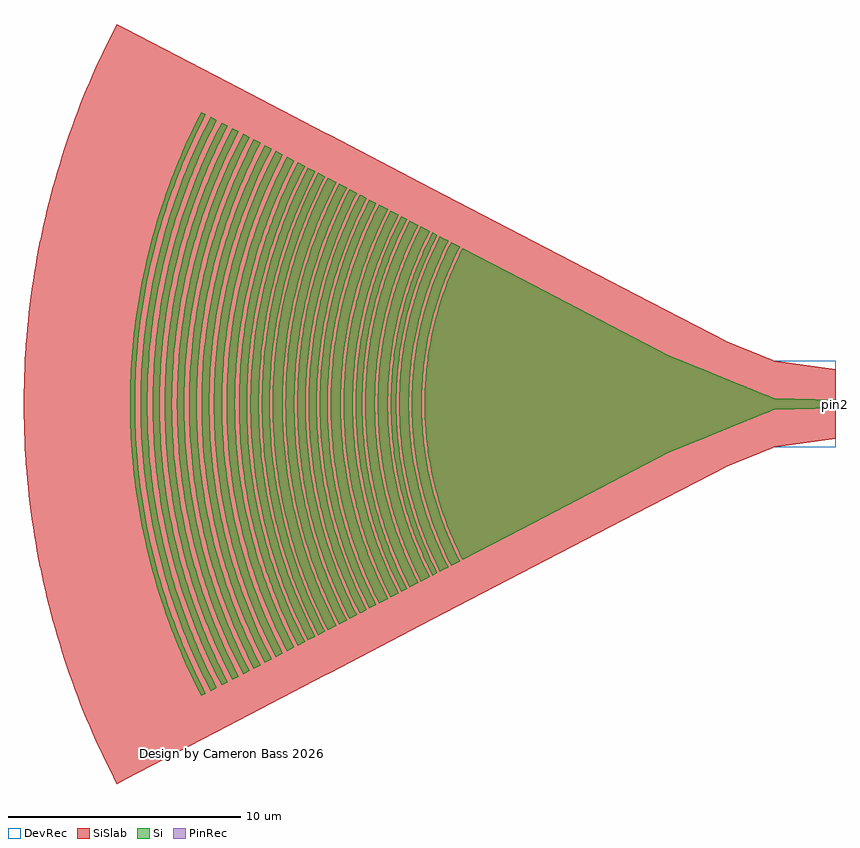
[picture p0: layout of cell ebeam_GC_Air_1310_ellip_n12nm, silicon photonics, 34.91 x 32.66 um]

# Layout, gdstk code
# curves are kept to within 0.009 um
import gdstk
lib = gdstk.Library(unit=1e-6, precision=1e-09)
def P(c, l, *ps):  # polygons
    for p in ps: c.add(gdstk.Polygon(p, *l))
Si = (1, 0)
PinRec = (1, 10)
SiSlab = (2, 0)
DevRec = (68, 0)

ebeam_gc_air_1310_ellip_ = lib.new_cell('ebeam_GC_Air_1310_ellip_n12nm')
P(ebeam_gc_air_1310_ellip_, Si, [(-16.043,-6.699),(-16.399,-5.964),(-16.773,-5.049),(-17.084,-4.111),(-17.266,-3.428),(-17.442,-2.599),(-17.569,-1.761),(-17.647,-0.917),(-17.675,-0.071),(-17.647,0.917),(-17.569,1.761),(-17.442,2.6),(-17.266,3.428),(-17.084,4.111),(-16.773,5.049),(-16.399,5.964),(-16.043,6.699),(-7.156,2.072),(-3.19,0.453),(-2.896,0.345),(-2.696,0.251),(-2.651,0.238),(0,0.175),(0,-0.175),(-2.664,-0.24),(-2.865,-0.332),(-3.205,-0.459),(-7.128,-2.059)],
  [(-16.535,-6.954),(-16.902,-6.194),(-17.239,-5.381),(-17.528,-4.549),(-17.767,-3.703),(-17.958,-2.844),(-18.098,-1.974),(-18.197,-0.953),(-18.227,-0.073),(-18.206,0.806),(-18.116,1.83),(-17.985,2.7),(-17.802,3.56),(-17.528,4.549),(-17.239,5.381),(-16.902,6.194),(-16.535,6.955),(-16.154,6.757),(-16.512,6.015),(-16.889,5.092),(-17.161,4.283),(-17.387,3.458),(-17.564,2.622),(-17.692,1.776),(-17.779,0.784),(-17.799,0.071),(-17.779,-0.784),(-17.692,-1.776),(-17.564,-2.621),(-17.387,-3.458),(-17.203,-4.145),(-16.889,-5.092),(-16.512,-6.015),(-16.154,-6.757)],
  [(-17.016,-7.205),(-17.396,-6.418),(-17.745,-5.576),(-18.044,-4.714),(-18.292,-3.837),(-18.517,-2.797),(-18.653,-1.896),(-18.737,-0.987),(-18.768,-0.076),(-18.746,0.835),(-18.671,1.745),(-18.614,2.197),(-18.517,2.797),(-18.328,3.689),(-18.089,4.569),(-17.745,5.576),(-17.396,6.418),(-17.016,7.205),(-16.645,7.013),(-17.075,6.11),(-17.406,5.287),(-17.689,4.445),(-17.924,3.59),(-18.107,2.722),(-18.24,1.844),(-18.321,0.961),(-18.351,0.074),(-18.33,-0.813),(-18.24,-1.844),(-18.107,-2.722),(-17.924,-3.59),(-17.689,-4.446),(-17.406,-5.287),(-17.075,-6.11),(-16.645,-7.013)],
  [(-17.336,-7.372),(-17.725,-6.566),(-18.082,-5.705),(-18.388,-4.823),(-18.642,-3.926),(-18.844,-3.015),(-18.925,-2.555),(-19.012,-1.939),(-19.098,-1.01),(-19.129,-0.078),(-19.107,0.855),(-19.03,1.785),(-18.899,2.709),(-18.814,3.168),(-18.679,3.775),(-18.434,4.675),(-18.137,5.559),(-17.969,5.994),(-17.725,6.567),(-17.336,7.372),(-17.126,7.262),(-17.571,6.329),(-17.966,5.333),(-18.294,4.311),(-18.413,3.868),(-18.551,3.271),(-18.715,2.366),(-18.811,1.606),(-18.87,0.843),(-18.892,0.077),(-18.87,-0.843),(-18.811,-1.606),(-18.715,-2.366),(-18.551,-3.27),(-18.413,-3.867),(-18.294,-4.311),(-18.115,-4.898),(-17.966,-5.332),(-17.571,-6.329),(-17.126,-7.262)],
  [(-17.832,-7.63),(-18.299,-6.649),(-18.66,-5.754),(-18.968,-4.838),(-19.221,-3.907),(-19.421,-2.962),(-19.565,-2.008),(-19.654,-1.045),(-19.687,-0.08),(-19.663,0.885),(-19.584,1.848),(-19.449,2.804),(-19.328,3.436),(-19.221,3.907),(-18.968,4.838),(-18.66,5.754),(-18.486,6.204),(-18.234,6.797),(-17.832,7.63),(-17.447,7.43),(-17.902,6.475),(-18.197,5.749),(-18.506,4.861),(-18.763,3.957),(-18.995,2.884),(-19.135,1.954),(-19.199,1.331),(-19.231,0.862),(-19.253,0.078),(-19.231,-0.862),(-19.199,-1.331),(-19.135,-1.954),(-18.995,-2.884),(-18.8,-3.804),(-18.598,-4.561),(-18.409,-5.159),(-18.252,-5.602),(-17.902,-6.475),(-17.447,-7.43)],
  [(-18.312,-7.88),(-18.728,-7.018),(-18.988,-6.406),(-19.167,-5.942),(-19.486,-4.997),(-19.747,-4.034),(-19.953,-3.059),(-20.103,-2.072),(-20.194,-1.08),(-20.228,-0.083),(-20.204,0.914),(-20.122,1.908),(-19.982,2.895),(-19.786,3.873),(-19.486,4.997),(-19.167,5.942),(-18.988,6.406),(-18.728,7.019),(-18.312,7.88),(-17.943,7.688),(-18.349,6.848),(-18.541,6.402),(-18.777,5.797),(-18.939,5.339),(-19.135,4.719),(-19.344,3.937),(-19.545,2.984),(-19.69,2.022),(-19.78,1.054),(-19.813,0.081),(-19.789,-0.892),(-19.709,-1.861),(-19.573,-2.825),(-19.484,-3.303),(-19.344,-3.936),(-19.135,-4.719),(-18.99,-5.185),(-18.777,-5.797),(-18.541,-6.401),(-18.349,-6.848),(-17.943,-7.688)],
  [(-18.674,-8.068),(-19.1,-7.185),(-19.491,-6.242),(-19.826,-5.277),(-20.017,-4.625),(-20.144,-4.13),(-20.355,-3.132),(-20.508,-2.122),(-20.602,-1.105),(-20.636,-0.085),(-20.612,0.935),(-20.528,1.954),(-20.385,2.964),(-20.257,3.632),(-20.144,4.13),(-19.876,5.116),(-19.665,5.762),(-19.491,6.242),(-19.1,7.185),(-18.674,8.068),(-18.423,7.939),(-18.702,7.374),(-18.976,6.763),(-19.341,5.828),(-19.504,5.353),(-19.699,4.712),(-19.829,4.227),(-19.98,3.575),(-20.159,2.586),(-20.264,1.755),(-20.329,0.921),(-20.353,0.084),(-20.329,-0.921),(-20.264,-1.755),(-20.159,-2.586),(-20.014,-3.41),(-19.908,-3.901),(-19.744,-4.55),(-19.555,-5.193),(-19.397,-5.67),(-18.976,-6.763),(-18.702,-7.374),(-18.423,-7.938)],
  [(-19.132,-8.307),(-19.571,-7.398),(-19.846,-6.752),(-20.035,-6.263),(-20.37,-5.267),(-20.646,-4.252),(-20.863,-3.224),(-21.021,-2.184),(-21.117,-1.138),(-21.153,-0.088),(-21.143,0.614),(-21.117,1.138),(-21.021,2.184),(-20.863,3.224),(-20.646,4.252),(-20.37,5.267),(-20.035,6.263),(-19.642,7.238),(-19.425,7.716),(-19.132,8.307),(-18.785,8.126),(-19.215,7.237),(-19.418,6.765),(-19.667,6.126),(-19.995,5.151),(-20.267,4.16),(-20.479,3.154),(-20.633,2.137),(-20.727,1.114),(-20.762,0.086),(-20.737,-0.943),(-20.653,-1.967),(-20.509,-2.985),(-20.415,-3.49),(-20.267,-4.16),(-19.995,-5.151),(-19.667,-6.126),(-19.284,-7.08),(-19.072,-7.548),(-18.785,-8.126)],
  [(-19.631,-8.567),(-20.082,-7.631),(-20.497,-6.63),(-20.852,-5.605),(-21.147,-4.562),(-21.381,-3.504),(-21.554,-2.433),(-21.664,-1.354),(-21.702,-0.633),(-21.713,-0.09),(-21.687,0.993),(-21.597,2.075),(-21.446,3.148),(-21.31,3.857),(-21.19,4.387),(-20.906,5.433),(-20.682,6.12),(-20.497,6.63),(-20.082,7.631),(-19.631,8.567),(-19.243,8.365),(-19.538,7.77),(-19.757,7.288),(-20.09,6.471),(-20.27,5.974),(-20.489,5.304),(-20.726,4.453),(-20.954,3.42),(-21.123,2.376),(-21.201,1.674),(-21.242,1.146),(-21.278,0.088),(-21.273,-0.441),(-21.242,-1.146),(-21.145,-2.199),(-20.987,-3.246),(-20.768,-4.282),(-20.489,-5.303),(-20.27,-5.974),(-20.09,-6.471),(-19.757,-7.288),(-19.538,-7.769),(-19.243,-8.365)],
  [(-20.046,-8.783),(-20.51,-7.821),(-20.8,-7.139),(-21,-6.621),(-21.354,-5.567),(-21.646,-4.496),(-21.876,-3.409),(-22.042,-2.31),(-22.144,-1.203),(-22.182,-0.093),(-22.155,1.018),(-22.064,2.126),(-21.994,2.677),(-21.876,3.409),(-21.646,4.496),(-21.354,5.568),(-21,6.621),(-20.585,7.652),(-20.355,8.158),(-20.046,8.783),(-19.745,8.626),(-19.97,8.177),(-20.274,7.517),(-20.552,6.844),(-20.743,6.333),(-20.975,5.644),(-21.132,5.12),(-21.273,4.593),(-21.437,3.885),(-21.603,2.99),(-21.726,2.088),(-21.816,1.001),(-21.842,0.091),(-21.832,-0.636),(-21.763,-1.726),(-21.658,-2.63),(-21.474,-3.705),(-21.358,-4.239),(-21.181,-4.945),(-20.975,-5.643),(-20.743,-6.333),(-20.552,-6.843),(-20.274,-7.516),(-19.97,-8.177),(-19.745,-8.626)],
  [(-20.466,-9.002),(-20.943,-8.014),(-21.379,-6.962),(-21.752,-5.886),(-22.062,-4.791),(-22.193,-4.236),(-22.343,-3.493),(-22.513,-2.366),(-22.618,-1.233),(-22.657,-0.095),(-22.629,1.043),(-22.535,2.179),(-22.376,3.306),(-22.272,3.866),(-22.107,4.607),(-21.808,5.706),(-21.635,6.247),(-21.379,6.962),(-20.943,8.014),(-20.466,9.002),(-20.157,8.841),(-20.469,8.211),(-20.774,7.531),(-21.052,6.839),(-21.243,6.313),(-21.418,5.783),(-21.629,5.067),(-21.812,4.344),(-21.93,3.797),(-22.091,2.879),(-22.208,1.954),(-22.28,1.025),(-22.307,0.093),(-22.289,-0.839),(-22.226,-1.769),(-22.118,-2.695),(-21.93,-3.797),(-21.812,-4.344),(-21.629,-5.067),(-21.418,-5.783),(-21.243,-6.313),(-21.052,-6.838),(-20.774,-7.531),(-20.469,-8.211),(-20.157,-8.841)],
  [(-20.901,-9.228),(-21.391,-8.212),(-21.837,-7.135),(-22.22,-6.032),(-22.538,-4.91),(-22.672,-4.341),(-22.826,-3.579),(-23.001,-2.425),(-23.108,-1.263),(-23.147,-0.097),(-23.142,0.487),(-23.108,1.263),(-23.001,2.425),(-22.826,3.58),(-22.584,4.721),(-22.278,5.847),(-21.906,6.953),(-21.47,8.035),(-21.228,8.566),(-20.901,9.228),(-20.581,9.061),(-20.903,8.412),(-21.215,7.715),(-21.5,7.006),(-21.696,6.468),(-21.876,5.924),(-22.092,5.191),(-22.235,4.636),(-22.4,3.89),(-22.565,2.95),(-22.685,2.002),(-22.759,1.051),(-22.787,0.096),(-22.768,-0.86),(-22.704,-1.812),(-22.593,-2.761),(-22.4,-3.89),(-22.235,-4.636),(-22.092,-5.191),(-21.876,-5.924),(-21.696,-6.468),(-21.5,-7.006),(-21.215,-7.715),(-20.903,-8.412),(-20.581,-9.061)],
  [(-21.352,-9.463),(-21.688,-8.785),(-21.935,-8.239),(-22.382,-7.13),(-22.764,-5.995),(-23.078,-4.841),(-23.326,-3.671),(-23.505,-2.487),(-23.615,-1.295),(-23.644,-0.698),(-23.655,-0.1),(-23.65,0.499),(-23.615,1.296),(-23.505,2.488),(-23.326,3.671),(-23.078,4.841),(-22.764,5.996),(-22.382,7.13),(-22.167,7.688),(-21.935,8.24),(-21.688,8.785),(-21.352,9.463),(-21.011,9.285),(-21.257,8.796),(-21.584,8.085),(-21.811,7.543),(-22.089,6.812),(-22.279,6.257),(-22.508,5.507),(-22.706,4.75),(-22.876,3.986),(-23.045,3.023),(-23.168,2.051),(-23.244,1.076),(-23.272,0.098),(-23.253,-0.88),(-23.187,-1.857),(-23.074,-2.829),(-22.876,-3.985),(-22.706,-4.75),(-22.508,-5.507),(-22.339,-6.07),(-22.089,-6.812),(-21.811,-7.543),(-21.584,-8.085),(-21.257,-8.795),(-21.011,-9.285)],
  [(-21.84,-9.716),(-22.095,-9.207),(-22.437,-8.462),(-22.675,-7.895),(-22.896,-7.322),(-23.101,-6.743),(-23.288,-6.157),(-23.611,-4.972),(-23.747,-4.372),(-23.865,-3.77),(-23.966,-3.163),(-24.049,-2.554),(-24.162,-1.33),(-24.192,-0.717),(-24.203,-0.102),(-24.174,1.126),(-24.073,2.352),(-23.966,3.163),(-23.865,3.77),(-23.747,4.372),(-23.611,4.972),(-23.288,6.158),(-23.101,6.743),(-22.896,7.323),(-22.675,7.896),(-22.437,8.462),(-22.095,9.207),(-21.84,9.717),(-21.463,9.521),(-21.801,8.838),(-22.049,8.29),(-22.499,7.173),(-22.699,6.606),(-22.941,5.84),(-23.2,4.871),(-23.449,3.693),(-23.629,2.502),(-23.693,1.904),(-23.739,1.304),(-23.78,0.1),(-23.761,-0.903),(-23.693,-1.904),(-23.576,-2.901),(-23.412,-3.89),(-23.291,-4.48),(-23.102,-5.26),(-22.941,-5.839),(-22.634,-6.795),(-22.356,-7.548),(-22.129,-8.106),(-21.801,-8.838),(-21.463,-9.521)],
  [(-22.254,-9.932),(-22.78,-8.84),(-23.029,-8.263),(-23.261,-7.68),(-23.475,-7.09),(-23.735,-6.293),(-24.065,-5.082),(-24.324,-3.853),(-24.427,-3.233),(-24.512,-2.611),(-24.579,-1.986),(-24.628,-1.36),(-24.658,-0.733),(-24.67,-0.105),(-24.664,0.524),(-24.64,1.151),(-24.537,2.403),(-24.458,3.026),(-24.361,3.647),(-24.246,4.265),(-24.065,5.082),(-23.735,6.294),(-23.543,6.892),(-23.261,7.68),(-23.029,8.264),(-22.78,8.841),(-22.254,9.932),(-21.95,9.774),(-22.296,9.075),(-22.551,8.513),(-22.79,7.943),(-23.083,7.172),(-23.283,6.588),(-23.523,5.799),(-23.683,5.202),(-23.869,4.398),(-23.988,3.792),(-24.089,3.182),(-24.218,2.16),(-24.298,1.133),(-24.328,0.103),(-24.298,-1.133),(-24.218,-2.16),(-24.089,-3.182),(-23.988,-3.792),(-23.869,-4.398),(-23.683,-5.202),(-23.523,-5.798),(-23.283,-6.587),(-23.083,-7.172),(-22.79,-7.942),(-22.551,-8.512),(-22.296,-9.075),(-21.95,-9.774)],
  [(-22.688,-10.158),(-22.957,-9.622),(-23.228,-9.039),(-23.483,-8.449),(-23.72,-7.853),(-23.939,-7.249),(-24.141,-6.639),(-24.382,-5.818),(-24.542,-5.196),(-24.684,-4.569),(-24.807,-3.94),(-24.913,-3.306),(-25,-2.669),(-25.068,-2.031),(-25.118,-1.39),(-25.149,-0.75),(-25.161,-0.107),(-25.155,0.536),(-25.13,1.177),(-25.087,1.818),(-25.025,2.457),(-24.944,3.094),(-24.845,3.729),(-24.727,4.361),(-24.542,5.196),(-24.382,5.818),(-24.204,6.436),(-23.795,7.653),(-23.564,8.251),(-23.315,8.844),(-22.957,9.622),(-22.688,10.158),(-22.367,9.991),(-22.722,9.275),(-22.983,8.7),(-23.227,8.118),(-23.526,7.33),(-23.795,6.532),(-23.976,5.926),(-24.14,5.316),(-24.33,4.495),(-24.522,3.461),(-24.665,2.417),(-24.756,1.368),(-24.787,0.737),(-24.799,0.105),(-24.779,-0.948),(-24.742,-1.578),(-24.687,-2.207),(-24.555,-3.252),(-24.33,-4.495),(-24.14,-5.316),(-23.976,-5.926),(-23.795,-6.532),(-23.526,-7.33),(-23.305,-7.921),(-22.983,-8.7),(-22.722,-9.275),(-22.367,-9.991)],
  [(-23.12,-10.383),(-23.398,-9.829),(-23.675,-9.234),(-23.935,-8.631),(-24.178,-8.022),(-24.402,-7.405),(-24.609,-6.782),(-24.966,-5.52),(-25.117,-4.882),(-25.25,-4.24),(-25.364,-3.593),(-25.459,-2.944),(-25.535,-2.293),(-25.607,-1.42),(-25.639,-0.766),(-25.651,-0.109),(-25.645,0.547),(-25.62,1.202),(-25.575,1.857),(-25.512,2.51),(-25.429,3.161),(-25.29,4.025),(-25.163,4.669),(-25.018,5.308),(-24.673,6.574),(-24.473,7.199),(-24.255,7.818),(-24.018,8.429),(-23.764,9.034),(-23.493,9.632),(-23.12,10.383),(-22.815,10.225),(-23.18,9.487),(-23.533,8.702),(-23.777,8.103),(-24.003,7.498),(-24.278,6.682),(-24.464,6.062),(-24.683,5.229),(-24.826,4.598),(-25.023,3.54),(-25.116,2.901),(-25.191,2.258),(-25.274,1.185),(-25.306,0.108),(-25.285,-0.97),(-25.191,-2.258),(-25.116,-2.9),(-25.023,-3.54),(-24.826,-4.598),(-24.683,-5.229),(-24.464,-6.062),(-24.278,-6.682),(-24.003,-7.498),(-23.777,-8.103),(-23.447,-8.899),(-23.18,-9.487),(-22.815,-10.224)],
  [(-23.589,-10.628),(-23.877,-10.054),(-24.161,-9.446),(-24.427,-8.829),(-24.675,-8.206),(-24.905,-7.575),(-25.116,-6.938),(-25.247,-6.511),(-25.482,-5.647),(-25.637,-4.993),(-25.772,-4.337),(-25.924,-3.454),(-26.015,-2.789),(-26.086,-2.122),(-26.138,-1.453),(-26.171,-0.783),(-26.184,-0.112),(-26.177,0.56),(-26.151,1.23),(-26.106,1.9),(-26.041,2.568),(-25.956,3.233),(-25.852,3.897),(-25.684,4.776),(-25.535,5.43),(-25.368,6.08),(-25.182,6.725),(-24.977,7.364),(-24.754,7.997),(-24.512,8.622),(-24.252,9.241),(-23.974,9.853),(-23.589,10.628),(-23.273,10.463),(-23.555,9.902),(-23.923,9.102),(-24.179,8.492),(-24.492,7.669),(-24.706,7.044),(-24.964,6.2),(-25.188,5.348),(-25.334,4.703),(-25.536,3.62),(-25.685,2.528),(-25.748,1.871),(-25.793,1.212),(-25.825,0.11),(-25.804,-0.992),(-25.766,-1.651),(-25.708,-2.309),(-25.57,-3.403),(-25.461,-4.054),(-25.334,-4.703),(-25.188,-5.348),(-24.964,-6.2),(-24.706,-7.043),(-24.492,-7.668),(-24.179,-8.492),(-23.923,-9.102),(-23.555,-9.902),(-23.273,-10.463)],
  [(-24.072,-10.879),(-24.37,-10.286),(-24.66,-9.663),(-24.933,-9.032),(-25.187,-8.395),(-25.422,-7.75),(-25.706,-6.879),(-25.896,-6.22),(-26.067,-5.555),(-26.219,-4.885),(-26.352,-4.212),(-26.465,-3.534),(-26.558,-2.853),(-26.631,-2.171),(-26.684,-1.486),(-26.718,-0.801),(-26.731,-0.114),(-26.724,0.573),(-26.698,1.258),(-26.651,1.943),(-26.558,2.854),(-26.465,3.534),(-26.352,4.212),(-26.219,4.886),(-26.067,5.555),(-25.896,6.22),(-25.706,6.88),(-25.422,7.75),(-25.187,8.395),(-24.933,9.033),(-24.66,9.663),(-24.37,10.286),(-24.072,10.879),(-23.762,10.718),(-24.339,9.523),(-24.692,8.694),(-24.936,8.062),(-25.161,7.424),(-25.434,6.563),(-25.615,5.912),(-25.828,5.035),(-25.964,4.372),(-26.082,3.706),(-26.235,2.588),(-26.333,1.465),(-26.366,0.789),(-26.379,0.113),(-26.357,-1.014),(-26.317,-1.69),(-26.259,-2.364),(-26.117,-3.483),(-26.006,-4.15),(-25.875,-4.814),(-25.726,-5.474),(-25.496,-6.346),(-25.232,-7.21),(-25.013,-7.85),(-24.776,-8.483),(-24.43,-9.317),(-24.053,-10.136),(-23.762,-10.718)],
  [(-24.542,-11.124),(-24.849,-10.514),(-25.146,-9.877),(-25.425,-9.232),(-25.684,-8.581),(-25.925,-7.921),(-26.146,-7.255),(-26.409,-6.358),(-26.585,-5.678),(-26.74,-4.993),(-26.876,-4.305),(-26.991,-3.612),(-27.086,-2.918),(-27.161,-2.219),(-27.216,-1.519),(-27.25,-0.819),(-27.263,-0.117),(-27.25,0.819),(-27.216,1.52),(-27.161,2.22),(-27.086,2.918),(-26.991,3.612),(-26.876,4.305),(-26.74,4.994),(-26.585,5.678),(-26.409,6.358),(-26.146,7.255),(-25.925,7.921),(-25.684,8.581),(-25.425,9.233),(-25.146,9.877),(-24.849,10.514),(-24.542,11.124),(-24.242,10.968),(-24.644,10.16),(-24.931,9.53),(-25.284,8.677),(-25.527,8.029),(-25.822,7.155),(-26.021,6.492),(-26.201,5.823),(-26.409,4.925),(-26.621,3.791),(-26.777,2.647),(-26.878,1.499),(-26.911,0.807),(-26.924,0.115),(-26.918,-0.576),(-26.891,-1.269),(-26.801,-2.418),(-26.721,-3.106),(-26.621,-3.791),(-26.409,-4.924),(-26.201,-5.823),(-26.021,-6.491),(-25.822,-7.155),(-25.527,-8.029),(-25.284,-8.677),(-24.931,-9.53),(-24.644,-10.16),(-24.242,-10.968)],
  [(-25.015,-11.37),(-25.33,-10.744),(-25.634,-10.094),(-25.918,-9.435),(-26.184,-8.769),(-26.429,-8.095),(-26.655,-7.414),(-26.861,-6.727),(-27.047,-6.034),(-27.212,-5.336),(-27.358,-4.634),(-27.482,-3.928),(-27.587,-3.218),(-27.67,-2.506),(-27.733,-1.791),(-27.784,-0.836),(-27.798,-0.12),(-27.791,0.598),(-27.763,1.314),(-27.714,2.03),(-27.645,2.744),(-27.554,3.455),(-27.402,4.399),(-27.263,5.103),(-27.104,5.802),(-26.925,6.497),(-26.726,7.186),(-26.507,7.869),(-26.184,8.769),(-25.918,9.435),(-25.634,10.094),(-25.33,10.744),(-25.015,11.37),(-24.722,11.218),(-25.033,10.601),(-25.428,9.744),(-25.702,9.092),(-26.038,8.21),(-26.267,7.541),(-26.478,6.864),(-26.668,6.183),(-26.89,5.266),(-27.118,4.109),(-27.227,3.41),(-27.316,2.707),(-27.385,2.003),(-27.433,1.297),(-27.467,0.118),(-27.46,-0.589),(-27.433,-1.297),(-27.341,-2.472),(-27.193,-3.643),(-27.077,-4.341),(-26.94,-5.035),(-26.727,-5.954),(-26.543,-6.637),(-26.267,-7.541),(-26.038,-8.21),(-25.702,-9.091),(-25.428,-9.744),(-25.135,-10.388),(-24.723,-11.218)],
  [(-25.477,-11.61),(-25.799,-10.97),(-26.109,-10.306),(-26.399,-9.633),(-26.67,-8.953),(-26.921,-8.265),(-27.152,-7.57),(-27.362,-6.869),(-27.552,-6.161),(-27.773,-5.21),(-27.914,-4.492),(-28.035,-3.769),(-28.134,-3.043),(-28.212,-2.316),(-28.269,-1.585),(-28.304,-0.855),(-28.319,-0.122),(-28.304,0.855),(-28.269,1.585),(-28.212,2.316),(-28.134,3.043),(-28.035,3.769),(-27.914,4.492),(-27.773,5.21),(-27.61,5.924),(-27.427,6.634),(-27.225,7.336),(-27.001,8.034),(-26.756,8.725),(-26.492,9.407),(-26.208,10.083),(-25.799,10.97),(-25.477,11.61),(-25.197,11.465),(-25.619,10.615),(-25.918,9.957),(-26.288,9.066),(-26.542,8.389),(-26.85,7.476),(-27.058,6.783),(-27.246,6.084),(-27.413,5.381),(-27.559,4.672),(-27.685,3.961),(-27.848,2.766),(-27.918,2.047),(-27.967,1.326),(-28.002,0.121),(-27.979,-1.085),(-27.937,-1.806),(-27.874,-2.526),(-27.79,-3.245),(-27.685,-3.96),(-27.559,-4.672),(-27.413,-5.381),(-27.186,-6.317),(-26.991,-7.014),(-26.776,-7.705),(-26.542,-8.389),(-26.288,-9.066),(-25.918,-9.957),(-25.619,-10.615),(-25.197,-11.465)],
  [(-25.942,-11.852),(-26.271,-11.198),(-26.588,-10.52),(-26.884,-9.834),(-27.161,-9.14),(-27.417,-8.437),(-27.653,-7.727),(-27.867,-7.012),(-28.061,-6.289),(-28.286,-5.318),(-28.431,-4.585),(-28.553,-3.847),(-28.655,-3.106),(-28.735,-2.364),(-28.793,-1.618),(-28.829,-0.872),(-28.843,-0.125),(-28.836,0.623),(-28.807,1.37),(-28.756,2.116),(-28.684,2.86),(-28.59,3.601),(-28.431,4.585),(-28.286,5.319),(-28.12,6.047),(-27.934,6.772),(-27.727,7.49),(-27.498,8.201),(-27.249,8.906),(-26.979,9.603),(-26.588,10.52),(-26.271,11.198),(-25.942,11.853),(-25.667,11.71),(-25.992,11.063),(-26.404,10.169),(-26.69,9.488),(-26.957,8.799),(-27.28,7.869),(-27.569,6.927),(-27.76,6.214),(-27.93,5.495),(-28.168,4.287),(-28.282,3.558),(-28.375,2.825),(-28.447,2.09),(-28.497,1.354),(-28.533,0.123),(-28.525,-0.615),(-28.497,-1.354),(-28.401,-2.58),(-28.246,-3.801),(-28.125,-4.529),(-27.983,-5.254),(-27.819,-5.975),(-27.569,-6.926),(-27.28,-7.869),(-27.041,-8.567),(-26.69,-9.487),(-26.404,-10.168),(-25.992,-11.062),(-25.667,-11.71)],
  [(-26.401,-12.091),(-26.737,-11.423),(-27.06,-10.732),(-27.362,-10.031),(-27.644,-9.323),(-27.906,-8.606),(-28.146,-7.882),(-28.295,-7.397),(-28.562,-6.416),(-28.738,-5.673),(-28.893,-4.927),(-29.026,-4.176),(-29.136,-3.421),(-29.225,-2.664),(-29.292,-1.904),(-29.346,-0.89),(-29.361,-0.127),(-29.353,0.636),(-29.324,1.397),(-29.272,2.158),(-29.198,2.918),(-29.102,3.673),(-28.94,4.677),(-28.792,5.426),(-28.623,6.169),(-28.433,6.908),(-28.222,7.64),(-27.988,8.366),(-27.734,9.085),(-27.459,9.796),(-27.06,10.732),(-26.737,11.423),(-26.401,12.091),(-26.136,11.954),(-26.577,11.066),(-26.889,10.38),(-27.181,9.685),(-27.539,8.746),(-27.783,8.033),(-28.078,7.071),(-28.273,6.343),(-28.447,5.61),(-28.6,4.871),(-28.731,4.129),(-28.901,2.884),(-29.011,1.633),(-29.047,0.879),(-29.062,0.126),(-29.054,-0.628),(-29.025,-1.382),(-28.928,-2.634),(-28.84,-3.383),(-28.731,-4.129),(-28.6,-4.871),(-28.447,-5.61),(-28.273,-6.343),(-28.008,-7.312),(-27.704,-8.271),(-27.453,-8.981),(-27.181,-9.684),(-26.889,-10.38),(-26.577,-11.066),(-26.135,-11.953)],
  [(-26.871,-12.336),(-27.319,-11.434),(-27.641,-10.725),(-27.943,-10.006),(-28.224,-9.28),(-28.483,-8.546),(-28.721,-7.805),(-28.936,-7.056),(-29.131,-6.301),(-29.303,-5.541),(-29.453,-4.778),(-29.581,-4.009),(-29.687,-3.237),(-29.769,-2.463),(-29.83,-1.686),(-29.868,-0.909),(-29.883,-0.13),(-29.868,0.909),(-29.83,1.686),(-29.769,2.463),(-29.687,3.237),(-29.581,4.009),(-29.453,4.778),(-29.303,5.542),(-29.131,6.301),(-28.936,7.056),(-28.721,7.805),(-28.483,8.546),(-28.224,9.281),(-27.943,10.007),(-27.641,10.725),(-27.319,11.434),(-26.871,12.337),(-26.602,12.197),(-27.053,11.291),(-27.372,10.591),(-27.765,9.643),(-28.035,8.923),(-28.284,8.196),(-28.513,7.46),(-28.72,6.72),(-28.961,5.724),(-29.209,4.465),(-29.328,3.706),(-29.425,2.942),(-29.499,2.177),(-29.551,1.41),(-29.589,0.128),(-29.564,-1.154),(-29.519,-1.921),(-29.452,-2.687),(-29.291,-3.959),(-29.164,-4.718),(-29.016,-5.473),(-28.784,-6.471),(-28.584,-7.214),(-28.363,-7.952),(-28.035,-8.923),(-27.765,-9.643),(-27.372,-10.591),(-27.053,-11.291),(-26.603,-12.197)],
  [(-27.269,-12.544),(-27.618,-11.848),(-27.953,-11.131),(-28.266,-10.405),(-28.558,-9.67),(-28.815,-8.968),(-29.078,-8.176),(-29.304,-7.419),(-29.509,-6.655),(-29.691,-5.885),(-29.851,-5.111),(-29.989,-4.331),(-30.104,-3.549),(-30.221,-2.501),(-30.277,-1.793),(-30.321,-0.923),(-30.336,-0.132),(-30.328,0.659),(-30.298,1.449),(-30.244,2.239),(-30.137,3.288),(-30.03,4.071),(-29.9,4.852),(-29.747,5.627),(-29.572,6.399),(-29.375,7.165),(-29.156,7.925),(-28.915,8.678),(-28.651,9.424),(-28.366,10.161),(-27.953,11.132),(-27.618,11.849),(-27.269,12.544),(-27.082,12.447),(-27.42,11.771),(-27.752,11.06),(-28.162,10.096),(-28.445,9.362),(-28.707,8.622),(-28.947,7.874),(-29.234,6.865),(-29.422,6.103),(-29.687,4.82),(-29.816,4.045),(-29.922,3.266),(-30.006,2.485),(-30.067,1.702),(-30.105,0.916),(-30.12,0.131),(-30.095,-1.179),(-30.049,-1.963),(-29.98,-2.745),(-29.889,-3.526),(-29.775,-4.304),(-29.639,-5.077),(-29.48,-5.847),(-29.299,-6.612),(-29.096,-7.37),(-28.789,-8.373),(-28.535,-9.116),(-28.259,-9.852),(-27.858,-10.82),(-27.533,-11.535),(-27.082,-12.447)])
P(ebeam_gc_air_1310_ellip_, SiSlab, [(-30.904,-16.329),(-31.366,-15.41),(-31.801,-14.477),(-32.208,-13.533),(-32.588,-12.577),(-32.94,-11.61),(-33.264,-10.634),(-33.559,-9.648),(-33.825,-8.655),(-34.062,-7.654),(-34.27,-6.647),(-34.449,-5.634),(-34.598,-4.616),(-34.717,-3.594),(-34.807,-2.569),(-34.867,-1.543),(-34.9,-0.171),(-34.89,0.857),(-34.85,1.885),(-34.781,2.912),(-34.681,3.935),(-34.552,4.956),(-34.393,5.972),(-34.135,7.319),(-33.907,8.322),(-33.651,9.318),(-33.365,10.307),(-33.051,11.286),(-32.709,12.256),(-32.338,13.216),(-31.94,14.164),(-31.366,15.41),(-30.904,16.329),(-4.744,2.708),(-2.65,1.855),(0,1.5),(0,-1.5),(-2.65,-1.855),(-4.728,-2.7)])
P(ebeam_gc_air_1310_ellip_, DevRec, [(-30.904,-16.329),(-31.366,-15.41),(-31.801,-14.477),(-32.208,-13.533),(-32.588,-12.577),(-32.94,-11.61),(-33.264,-10.634),(-33.559,-9.648),(-33.825,-8.655),(-34.062,-7.654),(-34.27,-6.647),(-34.449,-5.634),(-34.598,-4.616),(-34.717,-3.594),(-34.807,-2.569),(-34.867,-1.543),(-34.9,-0.171),(-34.89,0.857),(-34.85,1.885),(-34.781,2.912),(-34.681,3.935),(-34.552,4.956),(-34.393,5.972),(-34.135,7.319),(-33.907,8.322),(-33.651,9.318),(-33.365,10.307),(-33.051,11.286),(-32.709,12.256),(-32.338,13.216),(-31.94,14.164),(-31.366,15.41),(-30.904,16.329),(-4.744,2.708),(-2.65,1.855),(0,1.855),(0,-1.855),(-2.65,-1.855),(-4.728,-2.7)])
ebeam_gc_air_1310_ellip_.add(gdstk.FlexPath([(-0.01,0),(0.01,0)], 0.35, ends="flush", simple_path=True, layer=1, datatype=10))  # PinRec
ebeam_gc_air_1310_ellip_.add(gdstk.Label('pin2', (0,0), layer=1, texttype=10))
ebeam_gc_air_1310_ellip_.add(gdstk.Label('Design by Cameron Bass 2026', (-25.94,-15.02), layer=10, texttype=0))

lib.write_gds('ebeam_GC_Air_1310_ellip_n12nm.gds')
